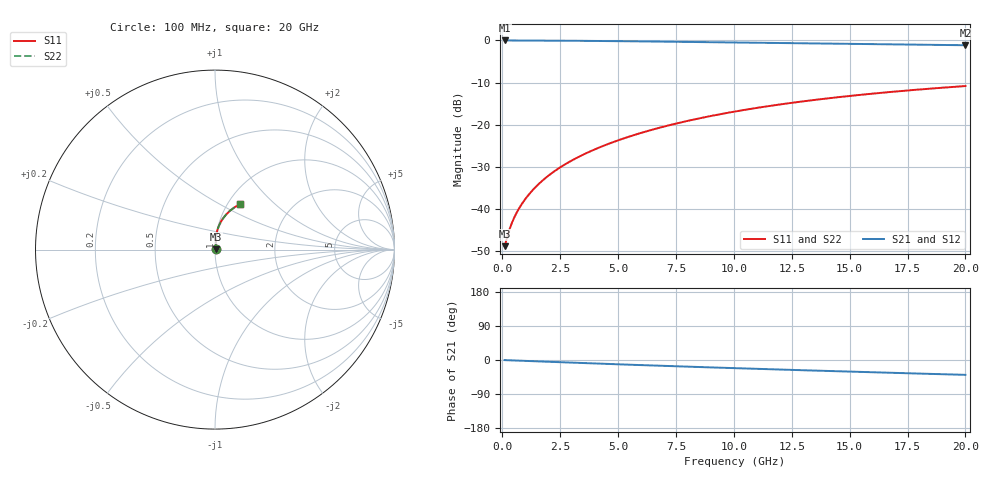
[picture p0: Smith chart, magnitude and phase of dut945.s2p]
! Touchstone file exported from HFSS 2024.1.0
!  File:  C:/UserFiles/LocalFiles/RDL_TSV_Batchsim/temp_RDL_top_945_1779937743.aedt
!  Generated:  11:12:01 AM May 28, 2026
!  Design:  RDL_top
!  Project:  temp_RDL_top_945_1779937743
!  Setup:  Setup1
!  Solution:  Sweep
! Variables:
!  dtsv = 10.80580581um
!  hbump = 3um
!  htsv = 92.57um
!  ldown = 100um
!  lrdl = 611.56um
!  p = 40
!  p1 = 40.62um
!  rhole = 1um
!  t = 450um
!  tdown = 3.915915916um
!  trdl = 3um
!  wdown = 15.38538539um
!  wrdl = 23.63um
# GHz S MA R 50.000000
! Terminal data exported
! Port[1] = Box2_T1
! Port[2] = Box2_T2
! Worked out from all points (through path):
!   200 points, 100 MHz to 20 GHz, reference 50 ohm
!   highest |S21| = -0.03 dB at 100 MHz (marker M1); lowest = -1.2 dB at 20 GHz (marker M2)
!   group delay of S21, straight-line fit = 5.39 ps
!   lowest |S11| = -48.8 dB at 100 MHz (marker M3), VSWR 1.01, Z = 50.3 + j0.152 ohm
!   |S11| at or under -10 dB: start of sweep to end of sweep
!   |S22| runs from -48.8 to -10.8 dB; largest |S21 - S12| = 4.6e-15
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0.1  0.003637 24.5  0.9967 -0.3  0.9967 -0.3  0.003637 24.5
! Gamma 0 0 0 0
! Port Impedance 50 0 50 0
0.3  0.005625 48.9  0.9962 -0.7  0.9962 -0.7  0.005625 48.9
0.4  0.006706 54.7  0.996 -1.0  0.996 -1.0  0.006706 54.7
0.5  0.007779 58.9  0.9957 -1.2  0.9957 -1.2  0.007779 58.9
0.6  0.008849 62.3  0.9955 -1.4  0.9955 -1.4  0.008849 62.3
0.8  0.01101 67.4  0.9952 -1.9  0.9952 -1.9  0.01101 67.4
1  0.01323 71.1  0.9948 -2.4  0.9948 -2.4  0.01323 71.1
1.2  0.0155 73.9  0.9944 -2.8  0.9944 -2.8  0.0155 73.9
1.7  0.02137 78.5  0.9932 -4.0  0.9932 -4.0  0.02137 78.5
2.2  0.02747 81.2  0.9916 -5.1  0.9916 -5.1  0.02747 81.2
2.8  0.03506 83.2  0.9894 -6.5  0.9894 -6.5  0.03506 83.2
3.5  0.04428 84.6  0.9862 -8.1  0.9862 -8.1  0.04428 84.6
4.2  0.05388 85.3  0.9826 -9.6  0.9826 -9.6  0.05388 85.2
5  0.06527 85.4  0.978 -11.4  0.978 -11.4  0.06527 85.4
5.9  0.07857 85.1  0.9723 -13.3  0.9723 -13.3  0.07856 85.1
6.8  0.09227 84.3  0.9663 -15.1  0.9663 -15.1  0.09226 84.3
8.4  0.1173 82.3  0.9551 -18.4  0.9551 -18.4  0.1173 82.3
10.1  0.1442 79.6  0.943 -21.7  0.943 -21.7  0.1442 79.6
11.7  0.1693 76.7  0.9316 -24.7  0.9316 -24.7  0.1693 76.7
13.4  0.1955 73.6  0.9196 -27.8  0.9196 -27.8  0.1954 73.5
16.7  0.2435 67.3  0.8969 -33.6  0.8969 -33.6  0.2435 67.3
20  0.2872 61.2  0.8749 -39.2  0.8749 -39.2  0.2872 61.2
